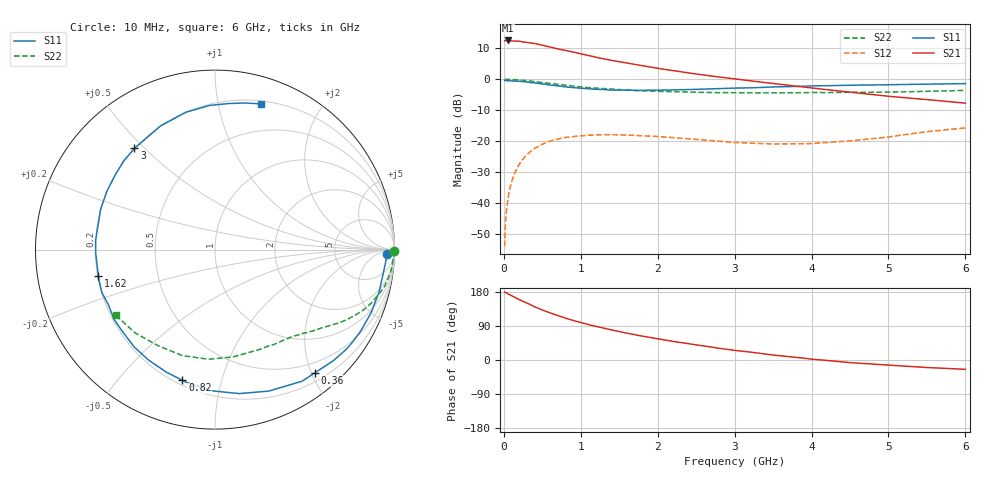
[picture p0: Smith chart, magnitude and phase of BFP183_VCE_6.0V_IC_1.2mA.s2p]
! Infineon Technologies  Discrete & RF Semiconductors
! BFP183
! VCE = 6.0 V,  IC =  1.2 mA
! Common Emitter S-Parameters:  Jan 2016
# GHz  S  MA  R  50
!  f  S11  S21  S12  S22
! GHz  MAG  ANG  MAG  ANG  MAG  ANG  MAG  ANG
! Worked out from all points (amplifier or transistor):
!   210 points, 10 MHz to 6 GHz, reference 50 ohm
!   highest |S21| = 12.6 dB at 50 MHz (marker M1)
!   |S21| within 3 dB of that: start of sweep to 756.8 MHz
!   unconditionally stable (mu >= 1): 2.432 GHz to end of sweep
!   at 185 MHz: K = 0.08, MSG = 20.3 dB, |S12| = -28.2 dB
!   at 1.52 GHz: K = 0.60, MSG = 11.8 dB, |S12| = -18.0 dB
!   at 6 GHz: K = 1.01, MAG = 3.3 dB, |S12| = -15.7 dB
!   S11 on the Smith chart (normalised r, x): 10 MHz: 35, -19; 360 MHz: 0.33, -2.05; 820 MHz: 0.23, -0.76; 1.62 GHz: 0.20, -0.11; 3 GHz: 0.20, +0.47; 6 GHz: 0.23, +1.34
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0.01  0.9571 -1.4  4.202 179.3  0.002 84.7  0.9999 -0.5
0.015  0.9565 -2.1  4.208 178.9  0.0032 85.3  0.9995 -0.8
0.025  0.9542 -3.6  4.22 177.9  0.0056 86.1  0.9983 -1.3
0.05  0.9478 -7.4  4.249 174.9  0.0109 87.2  0.9943 -2.5
0.095  0.9439 -14.0  4.174 170.4  0.0207 80.9  0.9911 -4.8
0.155  0.9364 -22.8  4.153 164.2  0.0329 76.1  0.9844 -7.9
0.2  0.9298 -29.3  4.137 159.4  0.042 72.8  0.9751 -10.1
0.36  0.8835 -51.0  3.846 144.5  0.0698 60.1  0.932 -17.1
0.4  0.8792 -56.5  3.8 140.4  0.0763 57.5  0.921 -18.8
0.5  0.8433 -69.2  3.558 131.9  0.0891 50.1  0.8877 -22.7
0.6  0.8137 -80.4  3.339 124.3  0.1001 44.1  0.8572 -25.6
0.82  0.7506 -104.0  2.905 109.3  0.1153 32.7  0.7953 -31.1
1.02  0.7143 -122.7  2.551 97.6  0.1225 24.2  0.7481 -35.3
1.3  0.6837 -145.4  2.141 83.9  0.1272 15.1  0.7051 -40.1
1.62  0.6665 -167.2  1.809 70.1  0.1254 7.7  0.669 -45.0
2.02  0.6653 170.0  1.493 55.3  0.1185 1.8  0.6385 -51.2
2.42  0.685 150.8  1.259 42.3  0.1087 -1.5  0.6219 -58.4
3  0.7207 128.5  1.019 25.4  0.0951 0.1  0.6054 -69.6
3.1  0.7232 125.5  0.983 23.3  0.094 1.3  0.6039 -71.8
4.1  0.7847 100.0  0.703 0.6  0.0931 16.3  0.6103 -96.2
5.1  0.82 83.3  0.519 -14.8  0.1216 27.4  0.6238 -123.4
6  0.8521 72.3  0.411 -24.7  0.1636 23.9  0.6632 -146.5
